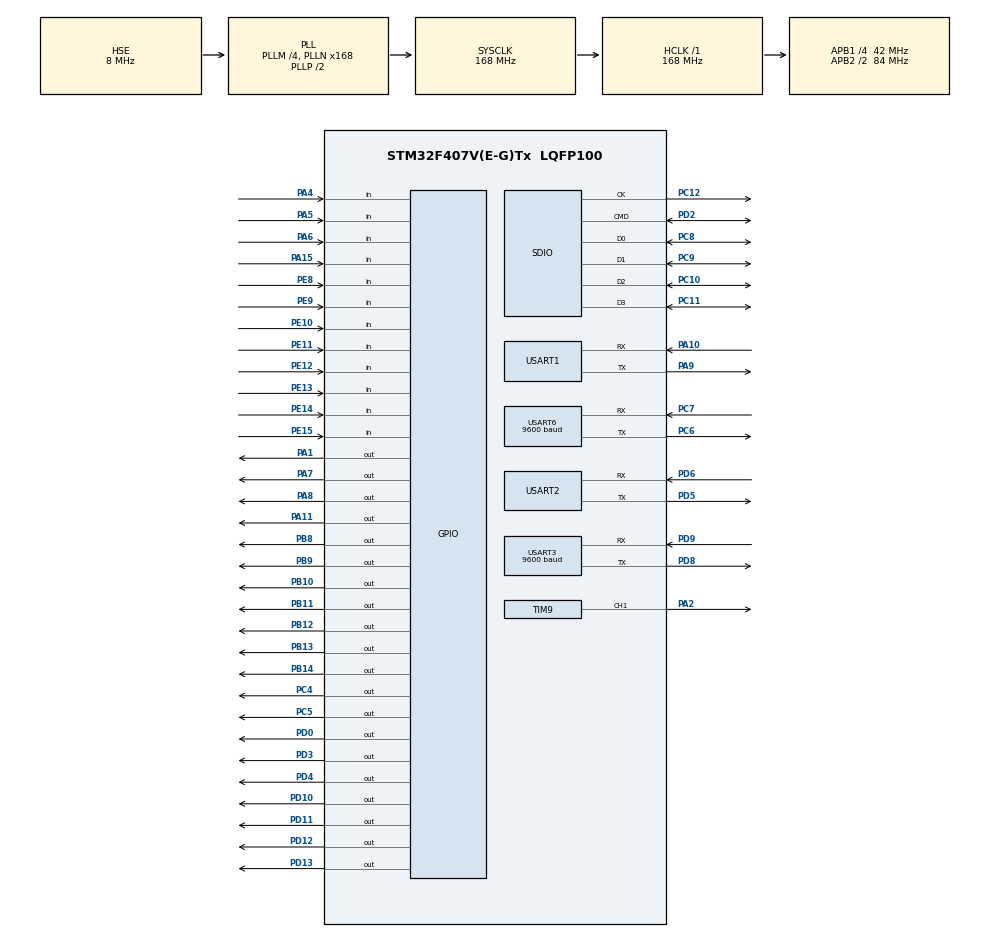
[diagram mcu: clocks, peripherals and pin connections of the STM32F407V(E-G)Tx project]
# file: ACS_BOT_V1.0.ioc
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FATFS._MAX_SS=4096
Mcu.Family=STM32F4
Mcu.Name=STM32F407V(E-G)Tx
Mcu.Package=LQFP100
NVIC.PriorityGroup=NVIC_PRIORITYGROUP_4
NVIC.RCC_IRQn=true\:0\:0\:false\:false\:true\:true\:false
NVIC.RTC_Alarm_IRQn=true\:3\:0\:true\:false\:true\:true\:true
NVIC.TIM8_BRK_TIM12_IRQn=true\:4\:0\:true\:false\:true\:true\:true
NVIC.TIM8_TRG_COM_TIM14_IRQn=true\:4\:0\:true\:false\:true\:true\:true
NVIC.TIM8_UP_TIM13_IRQn=true\:4\:0\:true\:false\:true\:true\:true
NVIC.USART1_IRQn=true\:1\:0\:true\:false\:true\:true\:true
NVIC.USART3_IRQn=true\:2\:0\:true\:false\:true\:true\:true
NVIC.USART6_IRQn=true\:2\:0\:true\:false\:true\:true\:true
PA1.GPIO_PuPd=GPIO_PULLDOWN
PA1.GPIO_Speed=GPIO_SPEED_FREQ_MEDIUM
PA1.Signal=GPIO_Output
PA10.Mode=Asynchronous
PA10.Signal=USART1_RX
PA11.Signal=GPIO_Output
PA13.Mode=Trace_Asynchronous_SW
PA13.Signal=SYS_JTMS-SWDIO
PA14.Mode=Trace_Asynchronous_SW
PA14.Signal=SYS_JTCK-SWCLK
PA15.Signal=GPIO_Input
PA2.Signal=S_TIM9_CH1
PA4.Signal=GPIO_Input
PA5.Signal=GPIO_Input
PA6.Signal=GPIO_Input
PA7.Signal=GPIO_Output
PA8.GPIO_ModeDefaultOutputPP=GPIO_MODE_OUTPUT_OD
PA8.GPIO_PuPd=GPIO_PULLUP
PA8.GPIO_Speed=GPIO_SPEED_FREQ_HIGH
PA8.PinState=GPIO_PIN_SET
PA8.Signal=GPIO_Output
PA9.Mode=Asynchronous
PA9.Signal=USART1_TX
PB10.GPIO_ModeDefaultOutputPP=GPIO_MODE_OUTPUT_PP
PB10.GPIO_PuPd=GPIO_PULLDOWN
PB10.GPIO_Speed=GPIO_SPEED_FREQ_HIGH
PB10.PinState=GPIO_PIN_RESET
PB10.Signal=GPIO_Output
PB11.GPIO_ModeDefaultOutputPP=GPIO_MODE_OUTPUT_PP
PB11.GPIO_PuPd=GPIO_PULLDOWN
PB11.GPIO_Speed=GPIO_SPEED_FREQ_HIGH
PB11.PinState=GPIO_PIN_RESET
PB11.Signal=GPIO_Output
PB12.GPIO_ModeDefaultOutputPP=GPIO_MODE_OUTPUT_PP
PB12.GPIO_PuPd=GPIO_PULLDOWN
PB12.GPIO_Speed=GPIO_SPEED_FREQ_HIGH
PB12.PinState=GPIO_PIN_RESET
PB12.Signal=GPIO_Output
PB13.GPIO_ModeDefaultOutputPP=GPIO_MODE_OUTPUT_PP
PB13.GPIO_PuPd=GPIO_PULLDOWN
PB13.GPIO_Speed=GPIO_SPEED_FREQ_HIGH
PB13.PinState=GPIO_PIN_RESET
PB13.Signal=GPIO_Output
PB14.GPIO_ModeDefaultOutputPP=GPIO_MODE_OUTPUT_OD
PB14.GPIO_PuPd=GPIO_PULLUP
PB14.GPIO_Speed=GPIO_SPEED_FREQ_HIGH
PB14.PinState=GPIO_PIN_SET
PB14.Signal=GPIO_Output
PB3.Mode=Trace_Asynchronous_SW
PB3.Signal=SYS_JTDO-SWO
PB8.GPIO_ModeDefaultOutputPP=GPIO_MODE_OUTPUT_PP
PB8.GPIO_PuPd=GPIO_PULLDOWN
PB8.GPIO_Speed=GPIO_SPEED_FREQ_HIGH
PB8.PinState=GPIO_PIN_RESET
PB8.Signal=GPIO_Output
PB9.GPIO_ModeDefaultOutputPP=GPIO_MODE_OUTPUT_PP
PB9.GPIO_PuPd=GPIO_PULLDOWN
PB9.GPIO_Speed=GPIO_SPEED_FREQ_HIGH
PB9.PinState=GPIO_PIN_RESET
PB9.Signal=GPIO_Output
PC10.GPIO_PuPd=GPIO_PULLUP
PC10.Mode=SD_4_bits_Wide_bus
PC10.Signal=SDIO_D2
PC11.GPIO_PuPd=GPIO_PULLUP
PC11.Mode=SD_4_bits_Wide_bus
PC11.Signal=SDIO_D3
PC12.GPIO_PuPd=GPIO_NOPULL
PC12.Mode=SD_4_bits_Wide_bus
PC12.Signal=SDIO_CK
PC14-OSC32_IN.Mode=LSE-External-Oscillator
PC14-OSC32_IN.Signal=RCC_OSC32_IN
PC15-OSC32_OUT.Mode=LSE-External-Oscillator
PC15-OSC32_OUT.Signal=RCC_OSC32_OUT
PC4.GPIO_PuPd=GPIO_PULLDOWN
PC4.GPIO_Speed=GPIO_SPEED_FREQ_MEDIUM
PC4.Signal=GPIO_Output
PC5.GPIO_PuPd=GPIO_PULLDOWN
PC5.GPIO_Speed=GPIO_SPEED_FREQ_MEDIUM
PC5.Signal=GPIO_Output
PC6.Mode=Asynchronous
PC6.Signal=USART6_TX
PC7.Mode=Asynchronous
PC7.Signal=USART6_RX
PC8.GPIO_PuPd=GPIO_PULLUP
PC8.Mode=SD_4_bits_Wide_bus
PC8.Signal=SDIO_D0
PC9.GPIO_PuPd=GPIO_PULLUP
PC9.Mode=SD_4_bits_Wide_bus
PC9.Signal=SDIO_D1
PD0.Signal=GPIO_Output
PD10.GPIO_PuPd=GPIO_PULLDOWN
PD10.GPIO_Speed=GPIO_SPEED_FREQ_HIGH
PD10.Signal=GPIO_Output
PD11.GPIO_PuPd=GPIO_PULLDOWN
PD11.GPIO_Speed=GPIO_SPEED_FREQ_HIGH
PD11.Signal=GPIO_Output
PD12.GPIO_PuPd=GPIO_PULLDOWN
PD12.GPIO_Speed=GPIO_SPEED_FREQ_HIGH
PD12.Signal=GPIO_Output
PD13.GPIO_PuPd=GPIO_PULLDOWN
PD13.GPIO_Speed=GPIO_SPEED_FREQ_HIGH
PD13.Signal=GPIO_Output
PD2.GPIO_PuPd=GPIO_PULLUP
PD2.Mode=SD_4_bits_Wide_bus
PD2.Signal=SDIO_CMD
PD3.Signal=GPIO_Output
PD4.Signal=GPIO_Output
PD5.Mode=Asynchronous
PD5.Signal=USART2_TX
PD6.Mode=Asynchronous
PD6.Signal=USART2_RX
PD8.Mode=Asynchronous
PD8.Signal=USART3_TX
PD9.Mode=Asynchronous
PD9.Signal=USART3_RX
PE10.GPIO_PuPd=GPIO_PULLDOWN
PE10.Signal=GPIO_Input
PE11.GPIO_PuPd=GPIO_PULLDOWN
PE11.Signal=GPIO_Input
PE12.GPIO_PuPd=GPIO_PULLDOWN
PE12.Signal=GPIO_Input
PE13.GPIO_PuPd=GPIO_PULLDOWN
PE13.Signal=GPIO_Input
PE14.GPIO_PuPd=GPIO_PULLDOWN
PE14.Signal=GPIO_Input
PE15.GPIO_PuPd=GPIO_PULLDOWN
PE15.Signal=GPIO_Input
PE8.GPIO_PuPd=GPIO_PULLDOWN
PE8.Signal=GPIO_Input
PE9.GPIO_PuPd=GPIO_PULLDOWN
PE9.Signal=GPIO_Input
PH0-OSC_IN.Mode=HSE-External-Oscillator
PH0-OSC_IN.Signal=RCC_OSC_IN
PH1-OSC_OUT.Mode=HSE-External-Oscillator
PH1-OSC_OUT.Signal=RCC_OSC_OUT
ProjectManager.HeapSize=0x2000
ProjectManager.StackSize=0x4000
ProjectManager.TargetToolchain=STM32CubeIDE
RCC.48MHZClocksFreq_Value=42000000
RCC.AHBFreq_Value=168000000
RCC.APB1CLKDivider=RCC_HCLK_DIV4
RCC.APB1Freq_Value=42000000
RCC.APB1TimFreq_Value=84000000
RCC.APB2CLKDivider=RCC_HCLK_DIV2
RCC.APB2Freq_Value=84000000
RCC.APB2TimFreq_Value=168000000
RCC.CortexFreq_Value=168000000
RCC.HCLKFreq_Value=168000000
RCC.HSE_VALUE=8000000
RCC.HSI_VALUE=16000000
RCC.PLLM=4
RCC.PLLN=168
RCC.PLLQ=8
RCC.PLLSourceVirtual=RCC_PLLSOURCE_HSE
RCC.SYSCLKFreq_VALUE=168000000
RCC.SYSCLKSource=RCC_SYSCLKSOURCE_PLLCLK
RCC.VCOOutputFreq_Value=336000000
RTC.Alarm=RTC_ALARM_A
RTC.Alarm_B=RTC_ALARM_B
RTC.Date=20
RTC.Format=RTC_FORMAT_BIN
RTC.Month=RTC_MONTH_JULY
RTC.Year=20
SDIO.ClockDiv=6
SH.S_TIM9_CH1.0=TIM9_CH1,PWM Generation1 CH1
TIM12.Period=10000
TIM12.Prescaler=8399
TIM13.Period=200
TIM13.Prescaler=7999
TIM14.Period=200
TIM14.Prescaler=7999
TIM9.Channel-PWM\ Generation1\ CH1=TIM_CHANNEL_1
TIM9.ClockDivision=TIM_CLOCKDIVISION_DIV4
TIM9.Period=100
TIM9.Prescaler=30
USART1.VirtualMode=VM_ASYNC
USART2.VirtualMode=VM_ASYNC
USART3.BaudRate=9600
USART3.VirtualMode=VM_ASYNC
USART6.BaudRate=9600
USART6.Mode=MODE_RX
USART6.VirtualMode=VM_ASYNC
VP_FATFS_VS_SDIO.Mode=SDIO
VP_RTC_VS_RTC_Activate.Mode=RTC_Enabled
VP_RTC_VS_RTC_Alarm_A_Intern.Mode=Alarm A
VP_RTC_VS_RTC_Alarm_B_Intern.Mode=Alarm B
VP_RTC_VS_RTC_Calendar.Mode=RTC_Calendar
VP_TIM12_VS_ClockSourceINT.Mode=Internal
VP_TIM13_VS_ClockSourceINT.Mode=Enable_Timer
VP_TIM14_VS_ClockSourceINT.Mode=Enable_Timer
VP_TIM9_VS_ClockSourceINT.Mode=Internal
board=custom

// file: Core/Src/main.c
/* USER CODE BEGIN Header */
/**
  ******************************************************************************
  * @file           : main.c
  * @brief          : Main program body
  ******************************************************************************
  * @attention
  *
  * <h2><center>&copy; Copyright (c) 2020 STMicroelectronics.
  * All rights reserved.</center></h2>
  *
  * This software component is licensed by ST under Ultimate Liberty license
  * SLA0044, the "License"; You may not use this file except in compliance with
  * the License. You may obtain a copy of the License at:
  *                             www.st.com/SLA0044
  *
  ******************************************************************************
  */
/* USER CODE END Header */
#include "main.h"
#include "fatfs.h"

/* USER CODE BEGIN Includes */
#include "lenze.h"
#include "sensor.h"
#include "windSensor.h"
#include "protocol.h"
#include "drivePol.h"
#include "stdio.h"
#include "stdlib.h"
#include "string.h"
#include "stdint.h"
#include "gps.h"
#include "externalRelay.h"
#include "limitSwitch.h"
#include "am2302.h"
#include "ds18b20.h"
#include "minmea.h"
#include "rtc.h"
#include "sd.h"
#include "goto.h"
#include "flash.h"
/* USER CODE END Includes */

RTC_HandleTypeDef hrtc;

SD_HandleTypeDef hsd;

TIM_HandleTypeDef htim9;
TIM_HandleTypeDef htim12;
TIM_HandleTypeDef htim13;
TIM_HandleTypeDef htim14;

UART_HandleTypeDef huart1;
UART_HandleTypeDef huart2;
UART_HandleTypeDef huart3;
UART_HandleTypeDef huart6;

/* USER CODE BEGIN PV */

//********************** SAVE SETTING **********************//
userSettingsTypeDef defaulSetting = {
		  DEFAULT_VALUE,
		  DEFAULT_VALUE, DEFAULT_VALUE, DEFAULT_VALUE,
		  SOFT_LIMIT_DEFAULT_VALUE, SOFT_LIMIT_DEFAULT_VALUE, SOFT_LIMIT_DEFAULT_VALUE, SOFT_LIMIT_DEFAULT_VALUE,
		  MIN_SPEED, MAX_SPEED,
		  MIN_SPEED, MAX_SPEED,
		  MIN_SPEED, MAX_SPEED,
		  DEFAULT_VALUE, DEFAULT_VALUE, DEFAULT_VALUE,
		  FLASH_KEY
};
userSettingsTypeDef workingSetting;
userSettingsTypeDef flashCopySetting;

//********************** RELAY **********************//
eRelay relay=spRelayNone;
eRelayState relayState = relayOFF;
uint8_t statusRelay=0;

//********************** TEMPERATURE SENSOR **********************//

am2302TypeDef tempAM2302;
temperatureDataTypeDef temperarure;

//********************** WIND SENSOR **********************//

WIND_SensorTypeDef windSpeed;

//********************** ENCODER **********************//

sensorDataTypeDef sensorData;

//********************** LIMIT SWITCH **********************//

extern uint8_t hardLimitSwitchStatus;
extern uint8_t softLimitSwitchStatus;
swLimitSwitchTypeDef softwareLimitSwitch;

//********************** GPS **********************//

uint8_t gpsBuf[80] = {0};
uint8_t tmpGpsBuf[80] = {0};
gpsDataTypeDef gpsData;

int32_t gpsLatitude, gpsLongtitude;

//********************** LENZE **********************//

driveDataTypeDef driveStatus;
driveSpeedTypeDef speedAz, speedEl, speedPol;

//********************** SD CARD **********************//

char bufferSD[50]={0};
char sdBufferFolderName[30] = {0};
char sdFolderName[] = {"windData"};
char sdFileName[12] = {0};
extern char SDPath[4];
extern FRESULT fResult;  	// result
extern FIL file;

//********************** RTC **********************//

extern RTC_TimeTypeDef timeRTC;
extern RTC_DateTypeDef dateRTC;

//********************** UART1 **********************//

uint8_t uart1Buf[30] = { 0 };
uint8_t tmpUart1Buf[30] = { 0 };

//********************** GLOBAL COUNTER **********************//

uint32_t counterMs=0;

uint16_t tmpSpeedAz = 0;
uint16_t tmpSpeedEl = 0;
/* USER CODE END PV */

void SystemClock_Config(void);
static void MX_GPIO_Init(void);
static void MX_RTC_Init(void);
static void MX_SDIO_SD_Init(void);
static void MX_TIM9_Init(void);
static void MX_TIM14_Init(void);
static void MX_USART1_UART_Init(void);
static void MX_USART2_UART_Init(void);
static void MX_USART3_UART_Init(void);
static void MX_USART6_UART_Init(void);
static void MX_TIM12_Init(void);
static void MX_TIM13_Init(void);
/* USER CODE BEGIN PFP */

int _write(int file, char *ptr, int len)
{
  /* Implement your write code here, this is used by puts and printf for example */
  int i=0;
  for(i=0 ; i<len ; i++)
    ITM_SendChar((*ptr++));
  return len;
}

/* USER CODE END PFP */

int main(void)
{

  /* MCU Configuration--------------------------------------------------------*/

  /* Reset of all peripherals, Initializes the Flash interface and the Systick. */
  HAL_Init();

  /* Configure the system clock */
  SystemClock_Config();

  /* Initialize all configured peripherals */
  MX_GPIO_Init();
  MX_RTC_Init();
  MX_SDIO_SD_Init();
  MX_TIM9_Init();
  MX_TIM14_Init();
  MX_USART1_UART_Init();
  MX_USART2_UART_Init();
  MX_USART3_UART_Init();
  MX_USART6_UART_Init();
  MX_TIM12_Init();
  MX_TIM13_Init();
  MX_FATFS_Init();
  /* USER CODE BEGIN 2 */

  HAL_TIM_Base_Start_IT(&htim14);
  HAL_TIM_Base_Start_IT(&htim13);
  HAL_UART_Receive_IT(&huart6,tmpGpsBuf,sizeof(tmpGpsBuf));
  HAL_UART_Receive_IT(&huart1, tmpUart1Buf, sizeof(tmpUart1Buf));
  initAM2302();
  ds18b20Init(DS18B20_Resolution_9_bit);

  if(mountSD(SDPath)!=FR_OK)
  		SdLedOn();
  	else
  		SdLedOff();

  uint8_t counterTemperature = 0;
  uint8_t counterFlashWrite = 0;

/*  uint8_t counterSensorStatus = 0;
  uint8_t counterLenzeStatus = 0;*/

  readFlash(&workingSetting);

  //*********************************************//
  softwareLimitSwitch.softLimitsBottom = workingSetting.softLimitsBottom;
  softwareLimitSwitch.softLimitsLeft = workingSetting.softLimitsLeft;
  softwareLimitSwitch.softLimitsRight = workingSetting.softLimitsRight;
  softwareLimitSwitch.softLimitsTop = workingSetting.softLimitsTop;
  //*********************************************//

  /* USER CODE END 2 */

  /* Infinite loop */
  /* USER CODE BEGIN WHILE */
  while (1)
  {
	  counterMs = 0;

	  workingSetting.softLimitsTop = softwareLimitSwitch.softLimitsTop;
	  workingSetting.softLimitsBottom = softwareLimitSwitch.softLimitsBottom;
	  workingSetting.softLimitsLeft = softwareLimitSwitch.softLimitsLeft;
	  workingSetting.softLimitsRight = softwareLimitSwitch.softLimitsRight;

	  if((gpsData.dataValid == VALID_DATA) && ((gpsData.time.minutes%1) == 0)&&(gpsData.time.seconds == 1))
	  {
		  setTime(gpsData.time.hours,gpsData.time.minutes,gpsData.time.seconds);
	  }
	  else
	  {
		  HAL_RTC_GetTime(&hrtc, &timeRTC, RTC_FORMAT_BIN);
		  HAL_RTC_GetDate(&hrtc, &dateRTC, RTC_FORMAT_BIN);
	  }

	  if((timeRTC.Seconds % 5 ) == 0)
		  getWindSpeed(&windSpeed);

	  if((timeRTC.Minutes % 1 ) == 0 && (timeRTC.Seconds == 10))
	  {
		  if(counterTemperature == 0)
		  {
			  temperarure.insideTemperature = ds18b20_getTemperature();
			  getSensorData(&tempAM2302);
		  }
		  if(tempAM2302.sensorState == CONNECTED)
		  {
			  temperarure.outsideTemperature = tempAM2302.temperature;
			  temperarure.outsideHumidity = tempAM2302.humidity;
		  }
		  else
		  {
			  temperarure.outsideTemperature = 0;
			  temperarure.outsideHumidity = 0;
		  }
		  counterTemperature++;
	  }
	  else
		  counterTemperature=0;

	  if(getPosition(axisAZ) > 0xFFFF)
		  sensorData.azData = 0xFF0000;
	  else
		  sensorData.azData = ((uint32_t)(((float)getPosition(axisAZ)*0.00549)*100));

	  if(getPosition(axisEL) > 0xFFFF)
		  sensorData.elData = 0xFF0000;
	  else
		  sensorData.elData = ((int32_t)((((float)getPosition(axisEL)*0.00549)*100)-18000)  & 0xFFFF);

	  if(getPosition(axisPOL) > 0xFFFF)
		  sensorData.polData = 0xFF0000;
	  else
		  sensorData.polData = ((int32_t)((((float)getPosition(axisPOL)*0.00549)*100)-18000) & 0xFFFF);

	  if(windSpeed.Status == WIND_SENSOR_OK)
		  sensorData.windData = windSpeed.Speed;
	  else
		  sensorData.windData = 0xFFFF;

	  tmpSpeedAz = (((driveStatus.azLenzeData >> 8) & 0xFF) << 8) +  (driveStatus.azLenzeData & 0xFF);
	  tmpSpeedEl = (((driveStatus.elLenzeData >> 8) & 0xFF) << 8) +  (driveStatus.elLenzeData & 0xFF);

	  if(((hardLimitSwitchStatus & limitSwitchRight )||(softLimitSwitchStatus & limitSwitchRight))
			  && (((driveStatus.azLenzeData & 0x00FF0000) >> 16) == cmdDirectionCC) && (tmpSpeedAz > 0))
	  {
		  lenzeStartStop(axisAZ, cmdStop);
	  }

	  if(((hardLimitSwitchStatus & limitSwitchLeft )||(softLimitSwitchStatus & limitSwitchLeft))
	 			  && (((driveStatus.azLenzeData & 0x00FF0000) >> 16) == cmdDirectionCCW) && (tmpSpeedAz > 0))
	  {
		  lenzeStartStop(axisAZ, cmdStop);
	  }

	  if(((hardLimitSwitchStatus & limitSwitchBottom )||(softLimitSwitchStatus & limitSwitchBottom))
	 			  && (((driveStatus.elLenzeData & 0x00FF0000) >> 16) == cmdDirectionCC) && (tmpSpeedEl > 0))
	 {
		  lenzeStartStop(axisEL, cmdStop);
	 }

	 if(((hardLimitSwitchStatus & limitSwitchTop )||(softLimitSwitchStatus & limitSwitchTop))
	 	 			  && (((driveStatus.elLenzeData & 0x00FF0000) >> 16) == cmdDirectionCCW) && (tmpSpeedEl > 0))
	 {
		 lenzeStartStop(axisEL, cmdStop);
	 }

	  sdProcess(&dateRTC, &timeRTC, &sensorData);

	  getDataGPS(&gpsData, (char*)gpsBuf);

	  if(gpsData.dataValid == VALID_DATA)
	  {
		  gpsLatitude = (int32_t)((float)getCordinate(&gpsData, 0x01)*1000000);
		  gpsLongtitude = (int32_t)((float)getCordinate(&gpsData, 0x02)*1000000);
	  }

	  driveStatus.azLenzeData  = getStatusLenze(lenzeAxisAz);

	  driveStatus.elLenzeData  = getStatusLenze(lenzeAxisEl);

	  driveStatus.polData = polStatus();

	  if((timeRTC.Minutes % 1 ) == 0 && (timeRTC.Seconds == 10))
	  {
		  if(counterFlashWrite == 0)
			  flashProcess(&workingSetting);
		  else
			  counterFlashWrite++;
	  }
	  else
		  counterFlashWrite=0;

	  HAL_Delay(150);

	/*cmdGetStatusACS();*/
  /* USER CODE END WHILE */

  }
}

void SystemClock_Config(void)
{
  RCC_OscInitTypeDef RCC_OscInitStruct = {0};
  RCC_ClkInitTypeDef RCC_ClkInitStruct = {0};
  RCC_PeriphCLKInitTypeDef PeriphClkInitStruct = {0};

  /** Configure the main internal regulator output voltage
  */
  __HAL_RCC_PWR_CLK_ENABLE();
  __HAL_PWR_VOLTAGESCALING_CONFIG(PWR_REGULATOR_VOLTAGE_SCALE1);
  /** Initializes the RCC Oscillators according to the specified parameters
  * in the RCC_OscInitTypeDef structure.
  */
  RCC_OscInitStruct.OscillatorType = RCC_OSCILLATORTYPE_LSI|RCC_OSCILLATORTYPE_HSE;
  RCC_OscInitStruct.HSEState = RCC_HSE_ON;
  RCC_OscInitStruct.LSIState = RCC_LSI_ON;
  RCC_OscInitStruct.PLL.PLLState = RCC_PLL_ON;
  RCC_OscInitStruct.PLL.PLLSource = RCC_PLLSOURCE_HSE;
  RCC_OscInitStruct.PLL.PLLM = 4;
  RCC_OscInitStruct.PLL.PLLN = 168;
  RCC_OscInitStruct.PLL.PLLP = RCC_PLLP_DIV2;
  RCC_OscInitStruct.PLL.PLLQ = 8;
  if (HAL_RCC_OscConfig(&RCC_OscInitStruct) != HAL_OK)
  {
    Error_Handler();
  }
  /** Initializes the CPU, AHB and APB buses clocks
  */
  RCC_ClkInitStruct.ClockType = RCC_CLOCKTYPE_HCLK|RCC_CLOCKTYPE_SYSCLK
                              |RCC_CLOCKTYPE_PCLK1|RCC_CLOCKTYPE_PCLK2;
  RCC_ClkInitStruct.SYSCLKSource = RCC_SYSCLKSOURCE_PLLCLK;
  RCC_ClkInitStruct.AHBCLKDivider = RCC_SYSCLK_DIV1;
  RCC_ClkInitStruct.APB1CLKDivider = RCC_HCLK_DIV4;
  RCC_ClkInitStruct.APB2CLKDivider = RCC_HCLK_DIV2;

  if (HAL_RCC_ClockConfig(&RCC_ClkInitStruct, FLASH_LATENCY_5) != HAL_OK)
  {
    Error_Handler();
  }
  PeriphClkInitStruct.PeriphClockSelection = RCC_PERIPHCLK_RTC;
  PeriphClkInitStruct.RTCClockSelection = RCC_RTCCLKSOURCE_LSI;
  if (HAL_RCCEx_PeriphCLKConfig(&PeriphClkInitStruct) != HAL_OK)
  {
    Error_Handler();
  }
}

static void MX_RTC_Init(void)
{

  RTC_TimeTypeDef sTime = {0};
  RTC_DateTypeDef sDate = {0};
  RTC_AlarmTypeDef sAlarm = {0};

  /** Initialize RTC Only
  */
  hrtc.Instance = RTC;
  hrtc.Init.HourFormat = RTC_HOURFORMAT_24;
  hrtc.Init.AsynchPrediv = 127;
  hrtc.Init.SynchPrediv = 255;
  hrtc.Init.OutPut = RTC_OUTPUT_DISABLE;
  hrtc.Init.OutPutPolarity = RTC_OUTPUT_POLARITY_HIGH;
  hrtc.Init.OutPutType = RTC_OUTPUT_TYPE_OPENDRAIN;
  if (HAL_RTC_Init(&hrtc) != HAL_OK)
  {
    Error_Handler();
  }

  /** Initialize RTC and set the Time and Date
  */
/*  sTime.Hours = 0;
  sTime.Minutes = 0;
  sTime.Seconds = 0;
  sTime.DayLightSaving = RTC_DAYLIGHTSAVING_NONE;
  sTime.StoreOperation = RTC_STOREOPERATION_RESET;
  if (HAL_RTC_SetTime(&hrtc, &sTime, RTC_FORMAT_BIN) != HAL_OK)
  {
    Error_Handler();
  }
  sDate.WeekDay = RTC_WEEKDAY_MONDAY;
  sDate.Month = RTC_MONTH_JULY;
  sDate.Date = 20;
  sDate.Year = 20;

  if (HAL_RTC_SetDate(&hrtc, &sDate, RTC_FORMAT_BIN) != HAL_OK)
  {
    Error_Handler();
  }*/
  /** Enable the Alarm A
  */
  sAlarm.AlarmTime.Hours = 0;
  sAlarm.AlarmTime.Minutes = 0;
  sAlarm.AlarmTime.Seconds = 0;
  sAlarm.AlarmTime.SubSeconds = 0;
  sAlarm.AlarmTime.DayLightSaving = RTC_DAYLIGHTSAVING_NONE;
  sAlarm.AlarmTime.StoreOperation = RTC_STOREOPERATION_RESET;
  sAlarm.AlarmMask = RTC_ALARMMASK_NONE;
  sAlarm.AlarmSubSecondMask = RTC_ALARMSUBSECONDMASK_ALL;
  sAlarm.AlarmDateWeekDaySel = RTC_ALARMDATEWEEKDAYSEL_DATE;
  sAlarm.AlarmDateWeekDay = 1;
  sAlarm.Alarm = RTC_ALARM_A;
  if (HAL_RTC_SetAlarm_IT(&hrtc, &sAlarm, RTC_FORMAT_BIN) != HAL_OK)
  {
    Error_Handler();
  }
  /** Enable the Alarm B
  */
  sAlarm.AlarmDateWeekDay = 1;
  sAlarm.Alarm = RTC_ALARM_B;
  if (HAL_RTC_SetAlarm_IT(&hrtc, &sAlarm, RTC_FORMAT_BIN) != HAL_OK)
  {
    Error_Handler();
  }

}

static void MX_SDIO_SD_Init(void)
{

  hsd.Instance = SDIO;
  hsd.Init.ClockEdge = SDIO_CLOCK_EDGE_RISING;
  hsd.Init.ClockBypass = SDIO_CLOCK_BYPASS_DISABLE;
  hsd.Init.ClockPowerSave = SDIO_CLOCK_POWER_SAVE_DISABLE;
  hsd.Init.BusWide = SDIO_BUS_WIDE_1B;
  hsd.Init.HardwareFlowControl = SDIO_HARDWARE_FLOW_CONTROL_DISABLE;
  hsd.Init.ClockDiv = 6;

}

static void MX_TIM9_Init(void)
{

  TIM_ClockConfigTypeDef sClockSourceConfig = {0};
  TIM_OC_InitTypeDef sConfigOC = {0};

  htim9.Instance = TIM9;
  htim9.Init.Prescaler = 30;
  htim9.Init.CounterMode = TIM_COUNTERMODE_UP;
  htim9.Init.Period = 100;
  htim9.Init.ClockDivision = TIM_CLOCKDIVISION_DIV4;
  htim9.Init.AutoReloadPreload = TIM_AUTORELOAD_PRELOAD_DISABLE;
  if (HAL_TIM_Base_Init(&htim9) != HAL_OK)
  {
    Error_Handler();
  }
  sClockSourceConfig.ClockSource = TIM_CLOCKSOURCE_INTERNAL;
  if (HAL_TIM_ConfigClockSource(&htim9, &sClockSourceConfig) != HAL_OK)
  {
    Error_Handler();
  }
  if (HAL_TIM_PWM_Init(&htim9) != HAL_OK)
  {
    Error_Handler();
  }
  sConfigOC.OCMode = TIM_OCMODE_PWM1;
  sConfigOC.Pulse = 0;
  sConfigOC.OCPolarity = TIM_OCPOLARITY_HIGH;
  sConfigOC.OCFastMode = TIM_OCFAST_DISABLE;
  if (HAL_TIM_PWM_ConfigChannel(&htim9, &sConfigOC, TIM_CHANNEL_1) != HAL_OK)
  {
    Error_Handler();
  }
  HAL_TIM_MspPostInit(&htim9);

}

static void MX_TIM12_Init(void)
{

  TIM_ClockConfigTypeDef sClockSourceConfig = {0};

  htim12.Instance = TIM12;
  htim12.Init.Prescaler = 8399;
  htim12.Init.CounterMode = TIM_COUNTERMODE_UP;
  htim12.Init.Period = 2000;
  htim12.Init.ClockDivision = TIM_CLOCKDIVISION_DIV1;
  htim12.Init.AutoReloadPreload = TIM_AUTORELOAD_PRELOAD_DISABLE;
  if (HAL_TIM_Base_Init(&htim12) != HAL_OK)
  {
    Error_Handler();
  }
  sClockSourceConfig.ClockSource = TIM_CLOCKSOURCE_INTERNAL;
  if (HAL_TIM_ConfigClockSource(&htim12, &sClockSourceConfig) != HAL_OK)
  {
    Error_Handler();
  }

}

static void MX_TIM13_Init(void)
{

  htim13.Instance = TIM13;
  htim13.Init.Prescaler = 7999;
  htim13.Init.CounterMode = TIM_COUNTERMODE_UP;
  htim13.Init.Period = 200;
  htim13.Init.ClockDivision = TIM_CLOCKDIVISION_DIV1;
  htim13.Init.AutoReloadPreload = TIM_AUTORELOAD_PRELOAD_DISABLE;
  if (HAL_TIM_Base_Init(&htim13) != HAL_OK)
  {
    Error_Handler();
  }

}

static void MX_TIM14_Init(void)
{

  htim14.Instance = TIM14;
  htim14.Init.Prescaler = 7999;
  htim14.Init.CounterMode = TIM_COUNTERMODE_UP;
  htim14.Init.Period = 200;
  htim14.Init.ClockDivision = TIM_CLOCKDIVISION_DIV1;
  htim14.Init.AutoReloadPreload = TIM_AUTORELOAD_PRELOAD_DISABLE;
  if (HAL_TIM_Base_Init(&htim14) != HAL_OK)
  {
    Error_Handler();
  }

}

static void MX_USART1_UART_Init(void)
{

  huart1.Instance = USART1;
  huart1.Init.BaudRate = 115200;
  huart1.Init.WordLength = UART_WORDLENGTH_8B;
  huart1.Init.StopBits = UART_STOPBITS_1;
  huart1.Init.Parity = UART_PARITY_NONE;
  huart1.Init.Mode = UART_MODE_TX_RX;
  huart1.Init.HwFlowCtl = UART_HWCONTROL_NONE;
  huart1.Init.OverSampling = UART_OVERSAMPLING_16;
  if (HAL_UART_Init(&huart1) != HAL_OK)
  {
    Error_Handler();
  }

}

static void MX_USART2_UART_Init(void)
{

  huart2.Instance = USART2;
  huart2.Init.BaudRate = 115200;
  huart2.Init.WordLength = UART_WORDLENGTH_8B;
  huart2.Init.StopBits = UART_STOPBITS_1;
  huart2.Init.Parity = UART_PARITY_NONE;
  huart2.Init.Mode = UART_MODE_TX_RX;
  huart2.Init.HwFlowCtl = UART_HWCONTROL_NONE;
  huart2.Init.OverSampling = UART_OVERSAMPLING_16;
  if (HAL_UART_Init(&huart2) != HAL_OK)
  {
    Error_Handler();
  }

}

static void MX_USART3_UART_Init(void)
{

  huart3.Instance = USART3;
  huart3.Init.BaudRate = 9600;
  huart3.Init.WordLength = UART_WORDLENGTH_8B;
  huart3.Init.StopBits = UART_STOPBITS_1;
  huart3.Init.Parity = UART_PARITY_NONE;
  huart3.Init.Mode = UART_MODE_TX_RX;
  huart3.Init.HwFlowCtl = UART_HWCONTROL_NONE;
  huart3.Init.OverSampling = UART_OVERSAMPLING_16;
  if (HAL_UART_Init(&huart3) != HAL_OK)
  {
    Error_Handler();
  }

}

static void MX_USART6_UART_Init(void)
{

  huart6.Instance = USART6;
  huart6.Init.BaudRate = 9600;
  huart6.Init.WordLength = UART_WORDLENGTH_8B;
  huart6.Init.StopBits = UART_STOPBITS_1;
  huart6.Init.Parity = UART_PARITY_NONE;
  huart6.Init.Mode = UART_MODE_RX;
  huart6.Init.HwFlowCtl = UART_HWCONTROL_NONE;
  huart6.Init.OverSampling = UART_OVERSAMPLING_16;
  if (HAL_UART_Init(&huart6) != HAL_OK)
  {
    Error_Handler();
  }

}

static void MX_GPIO_Init(void)
{
  GPIO_InitTypeDef GPIO_InitStruct = {0};

  /* GPIO Ports Clock Enable */
  __HAL_RCC_GPIOC_CLK_ENABLE();
  __HAL_RCC_GPIOH_CLK_ENABLE();
  __HAL_RCC_GPIOA_CLK_ENABLE();
  __HAL_RCC_GPIOE_CLK_ENABLE();
  __HAL_RCC_GPIOB_CLK_ENABLE();
  __HAL_RCC_GPIOD_CLK_ENABLE();

  /*Configure GPIO pin Output Level */
  HAL_GPIO_WritePin(GPIOA, GPIO_PIN_1|GPIO_PIN_7|GPIO_PIN_11, GPIO_PIN_RESET);

  /*Configure GPIO pin Output Level */
  HAL_GPIO_WritePin(GPIOC, GPIO_PIN_4|GPIO_PIN_5, GPIO_PIN_RESET);

  /*Configure GPIO pin Output Level */
  HAL_GPIO_WritePin(GPIOB, GPIO_PIN_10|GPIO_PIN_11|GPIO_PIN_12|GPIO_PIN_13
                          |GPIO_PIN_8|GPIO_PIN_9, GPIO_PIN_RESET);

  /*Configure GPIO pin Output Level */
  HAL_GPIO_WritePin(GPIOB, GPIO_PIN_14, GPIO_PIN_SET);

  /*Configure GPIO pin Output Level */
  HAL_GPIO_WritePin(GPIOD, GPIO_PIN_10|GPIO_PIN_11|GPIO_PIN_12|GPIO_PIN_13
                          |GPIO_PIN_0|GPIO_PIN_3|GPIO_PIN_4, GPIO_PIN_RESET);

  /*Configure GPIO pin Output Level */
  HAL_GPIO_WritePin(GPIOA, GPIO_PIN_8, GPIO_PIN_SET);

  /*Configure GPIO pin : PA1 */
  GPIO_InitStruct.Pin = GPIO_PIN_1;
  GPIO_InitStruct.Mode = GPIO_MODE_OUTPUT_PP;
  GPIO_InitStruct.Pull = GPIO_PULLDOWN;
  GPIO_InitStruct.Speed = GPIO_SPEED_FREQ_MEDIUM;
  HAL_GPIO_Init(GPIOA, &GPIO_InitStruct);

  /*Configure GPIO pins : PA4 PA5 PA6 PA15 */
  GPIO_InitStruct.Pin = GPIO_PIN_4|GPIO_PIN_5|GPIO_PIN_6|GPIO_PIN_15;
  GPIO_InitStruct.Mode = GPIO_MODE_INPUT;
  GPIO_InitStruct.Pull = GPIO_NOPULL;
  HAL_GPIO_Init(GPIOA, &GPIO_InitStruct);

  /*Configure GPIO pins : PA7 PA11 */
  GPIO_InitStruct.Pin = GPIO_PIN_7|GPIO_PIN_11;
  GPIO_InitStruct.Mode = GPIO_MODE_OUTPUT_PP;
  GPIO_InitStruct.Pull = GPIO_NOPULL;
  GPIO_InitStruct.Speed = GPIO_SPEED_FREQ_LOW;
  HAL_GPIO_Init(GPIOA, &GPIO_InitStruct);

  /*Configure GPIO pins : PC4 PC5 */
  GPIO_InitStruct.Pin = GPIO_PIN_4|GPIO_PIN_5;
  GPIO_InitStruct.Mode = GPIO_MODE_OUTPUT_PP;
  GPIO_InitStruct.Pull = GPIO_PULLDOWN;
  GPIO_InitStruct.Speed = GPIO_SPEED_FREQ_MEDIUM;
  HAL_GPIO_Init(GPIOC, &GPIO_InitStruct);

  /*Configure GPIO pins : PE8 PE9 PE10 PE11
                           PE12 PE13 PE14 PE15 */
  GPIO_InitStruct.Pin = GPIO_PIN_8|GPIO_PIN_9|GPIO_PIN_10|GPIO_PIN_11
                          |GPIO_PIN_12|GPIO_PIN_13|GPIO_PIN_14|GPIO_PIN_15;
  GPIO_InitStruct.Mode = GPIO_MODE_INPUT;
  GPIO_InitStruct.Pull = GPIO_PULLDOWN;
  HAL_GPIO_Init(GPIOE, &GPIO_InitStruct);

  /*Configure GPIO pins : PB10 PB11 PB12 PB13
                           PB8 PB9 */
  GPIO_InitStruct.Pin = GPIO_PIN_10|GPIO_PIN_11|GPIO_PIN_12|GPIO_PIN_13
                          |GPIO_PIN_8|GPIO_PIN_9;
  GPIO_InitStruct.Mode = GPIO_MODE_OUTPUT_PP;
  GPIO_InitStruct.Pull = GPIO_PULLDOWN;
  GPIO_InitStruct.Speed = GPIO_SPEED_FREQ_HIGH;
  HAL_GPIO_Init(GPIOB, &GPIO_InitStruct);

  /*Configure GPIO pin : PB14 */
  GPIO_InitStruct.Pin = GPIO_PIN_14;
  GPIO_InitStruct.Mode = GPIO_MODE_OUTPUT_OD;
  GPIO_InitStruct.Pull = GPIO_PULLUP;
  GPIO_InitStruct.Speed = GPIO_SPEED_FREQ_HIGH;
  HAL_GPIO_Init(GPIOB, &GPIO_InitStruct);

  /*Configure GPIO pins : PD10 PD11 PD12 PD13 */
  GPIO_InitStruct.Pin = GPIO_PIN_10|GPIO_PIN_11|GPIO_PIN_12|GPIO_PIN_13;
  GPIO_InitStruct.Mode = GPIO_MODE_OUTPUT_PP;
  GPIO_InitStruct.Pull = GPIO_PULLDOWN;
  GPIO_InitStruct.Speed = GPIO_SPEED_FREQ_HIGH;
  HAL_GPIO_Init(GPIOD, &GPIO_InitStruct);

  /*Configure GPIO pin : PA8 */
  GPIO_InitStruct.Pin = GPIO_PIN_8;
  GPIO_InitStruct.Mode = GPIO_MODE_OUTPUT_OD;
  GPIO_InitStruct.Pull = GPIO_PULLUP;
  GPIO_InitStruct.Speed = GPIO_SPEED_FREQ_HIGH;
  HAL_GPIO_Init(GPIOA, &GPIO_InitStruct);

  /*Configure GPIO pins : PD0 PD3 PD4 */
  GPIO_InitStruct.Pin = GPIO_PIN_0|GPIO_PIN_3|GPIO_PIN_4;
  GPIO_InitStruct.Mode = GPIO_MODE_OUTPUT_PP;
  GPIO_InitStruct.Pull = GPIO_NOPULL;
  GPIO_InitStruct.Speed = GPIO_SPEED_FREQ_LOW;
  HAL_GPIO_Init(GPIOD, &GPIO_InitStruct);

}

/* USER CODE BEGIN 4 */
void HAL_UART_RxCpltCallback (UART_HandleTypeDef *huart)
{
	if(huart == &huart6)
	{
		if(huart6.ErrorCode == 0)
		{
			uint8_t size = strlen((char*)tmpGpsBuf);
			HAL_UART_AbortReceive_IT(&huart6);

			for(uint8_t i=0;i<size;i++)
			{
				gpsBuf[i]=0;
			}

			strcpy((char*)gpsBuf,(char*)tmpGpsBuf);

			for(uint8_t i=0;i<size;i++)
			{
				tmpGpsBuf[i]=0;
			}
			//huart6.pRxBuffPtr = tmpGpsBuf;
			HAL_UART_Receive_IT(&huart6,tmpGpsBuf,sizeof(tmpGpsBuf));
			__HAL_UART_CLEAR_OREFLAG(&huart6);

		}
		else
		{
			huart6.ErrorCode = 0;
		}
	}
	if(huart == &huart1)
		{
			if(huart1.ErrorCode == 0)
			{
				uint16_t tmpDiv = 0;
				uint16_t tmpMull = 0;
				uint16_t tmpOne = 0;
				uint16_t tmpTwo = 0;
				uint8_t tmpCRC = 0;
				uint16_t tmp = 0;

				uint8_t size = huart1.RxXferSize - huart1.RxXferCount;
				HAL_UART_AbortReceive_IT(&huart1);

				memset(uart1Buf, 0x00, sizeof(uart1Buf));

				for(uint8_t i=0;i<size;i++)
				{
					uart1Buf[i]= tmpUart1Buf[i];
				}
				memset(tmpUart1Buf, 0x00, sizeof(tmpUart1Buf));

				for(uint8_t i=0;i<size-1;i++)
				{
					tmpCRC ^= uart1Buf[i];
				}
				huart1.RxXferCount=huart1.RxXferSize;
				HAL_UART_Receive_IT(&huart1,tmpUart1Buf,sizeof(tmpUart1Buf));
				__HAL_UART_CLEAR_OREFLAG(&huart1);

				if(tmpCRC == uart1Buf[size-1])
				{
					switch(uart1Buf[2])
					{
						case cmdTypeSet:

							switch (uart1Buf[3])
							{
								case cmdSetMaxSpeed:	cmdLenzeSetMaxSpeed(uart1Buf[4], uart1Buf[5]);
									break;
								case cmdSetMinSpeed:	cmdLenzeSetMinSpeed(uart1Buf[4], uart1Buf[5]);
									break;
								case cmdSetSensorDir:	cmdSensorChangeDir(uart1Buf[4], uart1Buf[5]);
									break;
								case cmdSetSensorMulti:

									tmpMull = (uart1Buf[5] << 8) + uart1Buf[6];
									tmpDiv = (uart1Buf[7] << 8) +  uart1Buf[8];

									cmdSensorSetMulti(uart1Buf[4], tmpMull, tmpDiv);
									break;

								case cmdSetSoftLimits:

									tmpOne = (uart1Buf[5] << 8) + uart1Buf[6];
									tmpTwo = (uart1Buf[7] << 8) + uart1Buf[8];

									cmdSetSoftLimitSwitch(uart1Buf[4], tmpOne, tmpTwo);

									break;

								case cmdSetCurrPosition:

								 	tmp = (uart1Buf[5] << 8) + uart1Buf[6];

									cmdSetSensorAbsolutePos(uart1Buf[4], tmp);
									break;

								case cmdSetSpRelay:	setSpRelayState(uart1Buf[4]);
									break;

								case cmdSetDate: cmdSetDateNow(uart1Buf[4],uart1Buf[5],uart1Buf[6]);
										break;
							}

							break;
						case cmdTypeInfo:

							switch (uart1Buf[3])
							{
								case cmdGetUtcTime: cmdGetUtcACS();
									break;
								case cmdGetGps:	cmdGetGpsAcs();
									break;
								case cmdGetSpeed: cmdGetMinMaxSpeed(uart1Buf[4]);
									break;
								case cmdGetSensorDir: cmdGetSensorDirecrion(uart1Buf[4]);
									break;
								case cmdGetSensorMulti: cmdGetSensorMultiply(uart1Buf[4]);
									break;
								case cmdGetTemperature: cmdGetTemp();
									break;
								case cmdGetRelayState: cmdGetSpRelayState();
									break;
								case cmdGetStatus:	cmdGetStatusACS();
									break;
								case cmdGetDate: cmdGetDateNow();
									break;
							}

							break;
						case cmdTypeWork:

							switch (uart1Buf[3])
								{
									case cmdDriveTo: //driveCord();
										break;
									case cmdDriveAxis: moveAxis(uart1Buf[4], uart1Buf[5], uart1Buf[6]);
										break;
									case cmdStopDrive: stopAxis(uart1Buf[4]);
										break;
								}
							break;
					}

				}

			}
			else
			{
				huart1.RxXferCount=huart1.RxXferSize;
				huart1.ErrorCode = 0;
			}
		}
}

/* USER CODE END 4 */

void Error_Handler(void)
{
}

/************************ (C) COPYRIGHT STMicroelectronics *****END OF FILE****/
